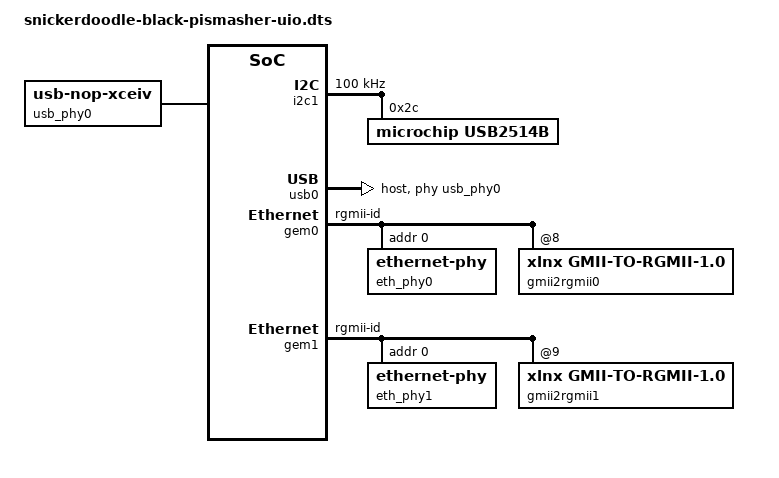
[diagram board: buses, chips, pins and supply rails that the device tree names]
/**
 * Copyright (c) 2018 krtkl inc.
 *
 * snickerdoodle Black piSmasher Device Tree Source
 *
 * This program is free software; you can redistribute it and/or modify it
 * under the terms of the GNU General Public License version 2 as published by
 * the Free Software Foundation.
 */

/dts-v1/;
/include/ "snickerdoodle-black.dtsi"
/include/ "uio.dtsi"

/ {
	aliases {
		ethernet0 = &gem0;
		ethernet1 = &gem1;
	};

	usb_phy0: usb-phy0 {
		compatible = "usb-nop-xceiv";
		#phy-cells = <0>;
		view-port = <0x170>;
		drv-vbus;
	};
};

&i2c1 {
	status = "okay";
	clock-frequency = <100000>;
	
	usb2514b@2c {
		compatible = "microchip,usb2514b";
		reg = <0x2c>;
	};
};

&usb0 {
	status = "okay";
	dr_mode = "host";
	usb-phy = <&usb_phy0>;
};

&gem0 {
	status = "okay";
	phy-mode = "rgmii-id";

	eth_phy0: ethernet-phy@0 {
		reg = <0>;
		device_type = "ethernet-phy";
	};

	gmii2rgmii0: gmiitorgmii@8 {
		compatible = "xlnx,gmii-to-rgmii-1.0";
		reg = <8>;
		phy-handle = <&eth_phy0>;
	};
};

&gem1 {
	status = "okay";
	phy-mode = "rgmii-id";

	eth_phy1: ethernet-phy@1 {
		reg = <0>;
		device_type = "ethernet-phy";
	};

	gmii2rgmii1: gmiitorgmii@9 {
		compatible = "xlnx,gmii-to-rgmii-1.0";
		reg = <9>;
		phy-handle = <&eth_phy1>;
	};
};

&uio15 {
	reg = <0x43000000 0x10000>;
};

&uio14 {
	reg = <0x43000000 0x10000>;
};

&uio13 {
	reg = <0x43c00000 0x10000>;
};

&uio12 {
	reg = <0x43c10000 0x10000>;
};

&uio11 {
	reg = <0x43c20000 0x10000>;
};
